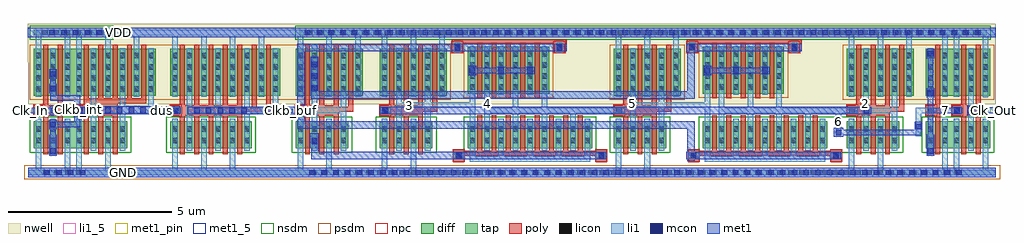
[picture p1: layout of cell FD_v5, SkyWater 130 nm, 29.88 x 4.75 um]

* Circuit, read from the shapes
.subckt FD_v5 2 3 4 5 6 7 Clk_In Clk_In_buf Clk_Out Clkb_buf Clkb_int GND VDD dus
XM1 Clkb_int Clk_In GND GND sky130_fd_pr__nfet_01v8 w=0.84 l=0.15 m=2
XM2 dus Clkb_int GND GND sky130_fd_pr__nfet_01v8 w=0.84 l=0.15 m=3
XM3 Clkb_buf dus GND GND sky130_fd_pr__nfet_01v8 w=0.84 l=0.15 m=5
XM4 Clk_In_buf Clkb_buf GND GND sky130_fd_pr__nfet_01v8 w=0.84 l=0.15 m=3
XM5 3 2 GND GND sky130_fd_pr__nfet_01v8 w=0.84 l=0.15 m=3
XM6 4 Clk_In_buf 3 GND sky130_fd_pr__nfet_01v8 w=0.84 l=0.15 m=8
XM7 5 4 GND GND sky130_fd_pr__nfet_01v8 w=0.84 l=0.15 m=3
XM8 6 Clkb_buf 5 GND sky130_fd_pr__nfet_01v8 w=0.84 l=0.15 m=8
XM9 2 6 GND GND sky130_fd_pr__nfet_01v8 w=0.84 l=0.15 m=3
XM10 GND 6 7 GND sky130_fd_pr__nfet_01v8 w=0.84 l=0.15
XM11 Clk_Out 7 GND GND sky130_fd_pr__nfet_01v8 w=0.84 l=0.15 m=2
XM12 Clkb_int Clk_In VDD VDD sky130_fd_pr__pfet_01v8 w=1.44 l=0.15 m=2
XM13 dus Clkb_int VDD VDD sky130_fd_pr__pfet_01v8 w=1.44 l=0.15 m=5
XM14 Clkb_buf dus VDD VDD sky130_fd_pr__pfet_01v8 w=1.44 l=0.15 m=7
XM15 Clk_In_buf Clkb_buf VDD VDD sky130_fd_pr__pfet_01v8 w=1.44 l=0.15 m=4
XM16 3 2 VDD VDD sky130_fd_pr__pfet_01v8 w=1.44 l=0.15 m=4
XM17 4 Clkb_buf 3 VDD sky130_fd_pr__pfet_01v8 w=1.44 l=0.15 m=5
XM18 5 4 VDD VDD sky130_fd_pr__pfet_01v8 w=1.44 l=0.15 m=4
XM19 6 Clk_In_buf 5 VDD sky130_fd_pr__pfet_01v8 w=1.44 l=0.15 m=5
XM20 2 6 VDD VDD sky130_fd_pr__pfet_01v8 w=1.44 l=0.15 m=4
XM21 VDD 6 7 VDD sky130_fd_pr__pfet_01v8 w=1.44 l=0.15
XM22 Clk_Out 7 VDD VDD sky130_fd_pr__pfet_01v8 w=1.44 l=0.15 m=2
.ends

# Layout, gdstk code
import gdstk
lib = gdstk.Library(unit=1e-6, precision=1e-09)
def R(c, l, rs):  # rectangles x0, y0, x1, y1
    for r in rs: c.add(gdstk.rectangle(r[:2], r[2:], *l))
def A(c, l, x, y, w, h, nx, ny, dx, dy):  # array of equal rectangles
    R(c, l, [(x+i*dx, y+j*dy, x+i*dx+w, y+j*dy+h) for i in range(nx) for j in range(ny)])
nwell = (64, 20)
diff = (65, 20)
tap = (65, 44)
poly = (66, 20)
licon = (66, 44)
li1_5 = (67, 5)
li1 = (67, 20)
mcon = (67, 44)
met1_5 = (68, 5)
met1_pin = (68, 16)
met1 = (68, 20)
nsdm = (93, 44)
psdm = (94, 20)
npc = (95, 20)

sky130_fd_pr__pfet_01v8_ = lib.new_cell('sky130_fd_pr__pfet_01v8_A2DS5R')
R(sky130_fd_pr__pfet_01v8_, nwell, [(-0.545,-0.43,2.305,1.57)])
R(sky130_fd_pr__pfet_01v8_, diff, [(-0.365,-0.18,2.125,1.26)])
A(sky130_fd_pr__pfet_01v8_, poly, -0.075, -0.255, 0.15, 1.645, 5, 1, 0.44, 0)
R(sky130_fd_pr__pfet_01v8_, poly, [(-0.075,-0.405,1.835,-0.255)])
A(sky130_fd_pr__pfet_01v8_, licon, -0.305, -0.055, 0.17, 0.17, 6, 4, 0.44, 0.34)
A(sky130_fd_pr__pfet_01v8_, li1, -0.305, -0.2, 0.17, 1.48, 6, 1, 0.44, 0)
R(sky130_fd_pr__pfet_01v8_, psdm, [(-0.49,-0.305,2.25,1.385)])

sky130_fd_pr__nfet_01v8_ = lib.new_cell('sky130_fd_pr__nfet_01v8_PW8BNL')
R(sky130_fd_pr__nfet_01v8_, diff, [(-0.365,-0.815,0.805,0.025)])
R(sky130_fd_pr__nfet_01v8_, poly, [(-0.075,-0.995,0.075,0.185), (0.365,-0.995,0.515,0.185), (-0.365,0.185,0.515,0.515)])
A(sky130_fd_pr__nfet_01v8_, licon, -0.305, -0.65, 0.17, 0.17, 3, 2, 0.44, 0.34)
R(sky130_fd_pr__nfet_01v8_, licon, [(-0.285,0.265,-0.115,0.435)])
A(sky130_fd_pr__nfet_01v8_, li1, -0.305, -0.885, 0.17, 0.98, 3, 1, 0.44, 0)
R(sky130_fd_pr__nfet_01v8_, li1, [(-0.365,0.265,-0.035,0.435)])
R(sky130_fd_pr__nfet_01v8_, nsdm, [(-0.49,-0.94,0.93,0.15)])
R(sky130_fd_pr__nfet_01v8_, npc, [(-0.385,0.165,-0.015,0.535)])

c_sky130_fd_pr__pfet_01v8_ = lib.new_cell('sky130_fd_pr__pfet_01v8_A1DS5R')
R(c_sky130_fd_pr__pfet_01v8_, nwell, [(-0.545,-0.43,0.985,1.57)])
R(c_sky130_fd_pr__pfet_01v8_, diff, [(-0.365,-0.18,0.805,1.26)])
R(c_sky130_fd_pr__pfet_01v8_, poly, [(-0.075,-0.665,0.515,-0.51), (-0.075,-0.51,0.075,1.39), (0.365,-0.51,0.515,1.39)])
A(c_sky130_fd_pr__pfet_01v8_, licon, -0.305, -0.055, 0.17, 0.17, 3, 4, 0.44, 0.34)
A(c_sky130_fd_pr__pfet_01v8_, li1, -0.305, -0.2, 0.17, 1.48, 3, 1, 0.44, 0)
R(c_sky130_fd_pr__pfet_01v8_, psdm, [(-0.49,-0.305,0.93,1.385)])

c_sky130_fd_pr__nfet_01v8_ = lib.new_cell('sky130_fd_pr__nfet_01v8_PW6BNL')
R(c_sky130_fd_pr__nfet_01v8_, diff, [(-0.365,-0.815,1.245,0.025)])
A(c_sky130_fd_pr__nfet_01v8_, poly, -0.075, -0.995, 0.15, 1.18, 3, 1, 0.44, 0)
R(c_sky130_fd_pr__nfet_01v8_, poly, [(-0.365,0.185,0.955,0.515)])
A(c_sky130_fd_pr__nfet_01v8_, licon, -0.305, -0.65, 0.17, 0.17, 4, 2, 0.44, 0.34)
R(c_sky130_fd_pr__nfet_01v8_, licon, [(-0.285,0.265,-0.115,0.435)])
A(c_sky130_fd_pr__nfet_01v8_, li1, -0.305, -0.885, 0.17, 0.98, 4, 1, 0.44, 0)
R(c_sky130_fd_pr__nfet_01v8_, li1, [(-0.365,0.265,-0.035,0.435)])
R(c_sky130_fd_pr__nfet_01v8_, nsdm, [(-0.49,-0.94,1.37,0.15)])
R(c_sky130_fd_pr__nfet_01v8_, npc, [(-0.385,0.165,-0.015,0.535)])

c_sky130_fd_pr__nfet_01v8__ = lib.new_cell('sky130_fd_pr__nfet_01v8_PW4BNL')
R(c_sky130_fd_pr__nfet_01v8__, diff, [(-0.365,-0.815,2.125,0.025)])
A(c_sky130_fd_pr__nfet_01v8__, poly, -0.075, -0.995, 0.15, 1.18, 5, 1, 0.44, 0)
R(c_sky130_fd_pr__nfet_01v8__, poly, [(-0.365,0.185,1.835,0.515)])
A(c_sky130_fd_pr__nfet_01v8__, licon, -0.305, -0.65, 0.17, 0.17, 6, 2, 0.44, 0.34)
R(c_sky130_fd_pr__nfet_01v8__, licon, [(-0.285,0.265,-0.115,0.435)])
A(c_sky130_fd_pr__nfet_01v8__, li1, -0.305, -0.885, 0.17, 0.98, 6, 1, 0.44, 0)
R(c_sky130_fd_pr__nfet_01v8__, li1, [(-0.365,0.265,-0.035,0.435)])
R(c_sky130_fd_pr__nfet_01v8__, nsdm, [(-0.49,-0.94,2.25,0.15)])
R(c_sky130_fd_pr__nfet_01v8__, npc, [(-0.385,0.165,-0.015,0.535)])

c_sky130_fd_pr__pfet_01v8__ = lib.new_cell('sky130_fd_pr__pfet_01v8_A4DS5R')
R(c_sky130_fd_pr__pfet_01v8__, nwell, [(-0.545,-0.43,3.185,1.57)])
R(c_sky130_fd_pr__pfet_01v8__, diff, [(-0.365,-0.18,3.005,1.26)])
A(c_sky130_fd_pr__pfet_01v8__, poly, -0.075, -0.515, 0.15, 1.905, 7, 1, 0.44, 0)
R(c_sky130_fd_pr__pfet_01v8__, poly, [(-0.075,-0.665,2.715,-0.515)])
A(c_sky130_fd_pr__pfet_01v8__, licon, -0.305, -0.055, 0.17, 0.17, 8, 4, 0.44, 0.34)
A(c_sky130_fd_pr__pfet_01v8__, li1, -0.305, -0.2, 0.17, 1.48, 8, 1, 0.44, 0)
R(c_sky130_fd_pr__pfet_01v8__, psdm, [(-0.49,-0.305,3.13,1.385)])

c_sky130_fd_pr__pfet_01v8___ = lib.new_cell('sky130_fd_pr__pfet_01v8_A8DS5R')
R(c_sky130_fd_pr__pfet_01v8___, nwell, [(-0.545,-0.43,1.865,1.57)])
R(c_sky130_fd_pr__pfet_01v8___, diff, [(-0.365,-0.18,1.685,1.26)])
A(c_sky130_fd_pr__pfet_01v8___, poly, -0.075, -0.515, 0.15, 1.905, 4, 1, 0.44, 0)
R(c_sky130_fd_pr__pfet_01v8___, poly, [(-0.075,-0.665,1.395,-0.515)])
A(c_sky130_fd_pr__pfet_01v8___, licon, -0.305, -0.055, 0.17, 0.17, 5, 4, 0.44, 0.34)
A(c_sky130_fd_pr__pfet_01v8___, li1, -0.305, -0.2, 0.17, 1.48, 5, 1, 0.44, 0)
R(c_sky130_fd_pr__pfet_01v8___, psdm, [(-0.49,-0.305,1.81,1.385)])

c_sky130_fd_pr__nfet_01v8___ = lib.new_cell('sky130_fd_pr__nfet_01v8_PW9BNL')
R(c_sky130_fd_pr__nfet_01v8___, diff, [(-0.365,-0.815,3.445,0.025)])
A(c_sky130_fd_pr__nfet_01v8___, poly, -0.075, -0.995, 0.15, 1.095, 8, 1, 0.44, 0)
R(c_sky130_fd_pr__nfet_01v8___, poly, [(-0.075,0.1,3.155,0.25)])
A(c_sky130_fd_pr__nfet_01v8___, licon, -0.305, -0.65, 0.17, 0.17, 9, 2, 0.44, 0.34)
A(c_sky130_fd_pr__nfet_01v8___, li1, -0.305, -0.885, 0.17, 0.98, 9, 1, 0.44, 0)
R(c_sky130_fd_pr__nfet_01v8___, nsdm, [(-0.49,-0.94,3.57,0.15)])

c_sky130_fd_pr__pfet_01v8____ = lib.new_cell('sky130_fd_pr__pfet_01v8_A9DS5R')
R(c_sky130_fd_pr__pfet_01v8____, nwell, [(-0.545,-0.43,0.545,1.57)])
R(c_sky130_fd_pr__pfet_01v8____, diff, [(-0.365,-0.18,0.365,1.26)])
R(c_sky130_fd_pr__pfet_01v8____, poly, [(-0.075,-0.665,0.075,1.39)])
A(c_sky130_fd_pr__pfet_01v8____, licon, -0.305, -0.055, 0.17, 0.17, 1, 4, 0, 0.34)
A(c_sky130_fd_pr__pfet_01v8____, licon, 0.135, -0.055, 0.17, 0.17, 1, 4, 0, 0.34)
R(c_sky130_fd_pr__pfet_01v8____, li1, [(-0.305,-0.2,-0.135,1.28), (0.135,-0.2,0.305,1.28)])
R(c_sky130_fd_pr__pfet_01v8____, psdm, [(-0.49,-0.305,0.49,1.385)])

c_sky130_fd_pr__nfet_01v8____ = lib.new_cell('sky130_fd_pr__nfet_01v8_PW7BNL')
R(c_sky130_fd_pr__nfet_01v8____, diff, [(-0.365,-0.815,0.365,0.025)])
R(c_sky130_fd_pr__nfet_01v8____, poly, [(-0.075,-0.995,0.075,0.185), (-0.365,0.185,0.075,0.515)])
R(c_sky130_fd_pr__nfet_01v8____, licon, [(-0.305,-0.65,-0.135,-0.48), (0.135,-0.65,0.305,-0.48), (-0.305,-0.31,-0.135,-0.14), (0.135,-0.31,0.305,-0.14), (-0.285,0.265,-0.115,0.435)])
R(c_sky130_fd_pr__nfet_01v8____, li1, [(-0.305,-0.885,-0.135,0.095), (0.135,-0.885,0.305,0.095), (-0.365,0.265,-0.035,0.435)])
R(c_sky130_fd_pr__nfet_01v8____, nsdm, [(-0.49,-0.94,0.49,0.15)])
R(c_sky130_fd_pr__nfet_01v8____, npc, [(-0.385,0.165,-0.015,0.535)])

fd_v5 = lib.new_cell('FD_v5')
R(fd_v5, nwell, [(-1.91,-1.565,27.72,-0.29), (-1.915,-0.29,27.72,0.89)])
R(fd_v5, diff, [(-0.56,-2.925,-0.49,-2.085), (26.3,-2.925,26.37,-2.085), (-0.56,-1.315,-0.49,0.125), (26.3,-1.315,26.37,0.125)])
R(fd_v5, tap, [(-1.91,-3.74,27.72,-3.57), (-1.73,0.535,0.58,0.705), (6.395,0.535,27.44,0.705)])
R(fd_v5, poly, [(11.11,-3.345,11.445,-3.15), (15.475,-3.345,15.81,-3.15), (18.3,-3.345,18.635,-3.15), (22.665,-3.345,23,-3.15), (11.11,-3.15,11.84,-3), (15.07,-3.15,15.81,-3), (18.3,-3.15,19.03,-3), (22.26,-3.15,23,-3), (11.11,-3,11.445,-2.965), (15.475,-3,15.81,-2.965), (18.3,-3,18.635,-2.965), (22.665,-3,23,-2.965), (-0.2,-1.595,0.83,-1.54), (11.065,0.005,11.395,0.26), (14.195,0.005,14.525,0.26), (18.255,0.005,18.585,0.26), (21.385,0.005,21.715,0.26), (11.065,0.26,11.84,0.41), (13.75,0.26,14.585,0.41), (18.255,0.26,19.03,0.41), (20.94,0.26,21.775,0.41)])
A(fd_v5, licon, -1.45, -3.74, 0.17, 0.17, 4, 1, 0.34, 0)
A(fd_v5, licon, 6.745, -3.74, 0.17, 0.17, 59, 1, 0.34, 0)
A(fd_v5, licon, -1.485, 0.535, 0.17, 0.17, 6, 1, 0.34, 0)
A(fd_v5, licon, 6.625, 0.535, 0.17, 0.17, 61, 1, 0.34, 0)
R(fd_v5, licon, [(11.19,-3.225,11.36,-3.055), (15.555,-3.225,15.725,-3.055), (18.38,-3.225,18.55,-3.055), (22.745,-3.225,22.915,-3.055), (11.145,0.085,11.315,0.255), (14.275,0.085,14.445,0.255), (18.335,0.085,18.505,0.255), (21.465,0.085,21.635,0.255)])
R(fd_v5, li1_5, [(22.84,-2.15,22.96,-2.02), (9.69,-1.675,9.815,-1.555), (6.795,-1.64,6.935,-1.48), (16.545,-1.615,16.67,-1.495), (12.08,-1.605,12.205,-1.485), (23.675,-1.605,23.8,-1.485)])
A(fd_v5, li1, 2.505, -3.57, 0.17, 1.14, 3, 1, 0.88, 0)
A(fd_v5, li1, 13.37, -3.165, 0.17, 0.3, 3, 1, 0.88, 0)
A(fd_v5, li1, 20.56, -3.165, 0.17, 0.3, 3, 1, 0.88, 0)
A(fd_v5, li1, 12.05, -1.675, 0.17, 1.005, 3, 1, 0.88, 0)
A(fd_v5, li1, 19.24, -1.675, 0.17, 1.005, 3, 1, 0.88, 0)
A(fd_v5, li1, 11.61, -0.63, 0.17, 0.17, 3, 1, 0.88, 0)
A(fd_v5, li1, 18.8, -0.63, 0.17, 0.17, 3, 1, 0.88, 0)
A(fd_v5, li1, -0.43, 0.065, 0.17, 0.47, 3, 1, 0.88, 0)
A(fd_v5, li1, 2.505, 0.065, 0.17, 0.47, 4, 1, 0.88, 0)
A(fd_v5, li1, 6.34, 0.065, 0.17, 0.47, 3, 1, 0.88, 0)
A(fd_v5, li1, 16.08, 0.065, 0.17, 0.47, 3, 1, 0.88, 0)
A(fd_v5, li1, 23.215, 0.065, 0.17, 0.47, 3, 1, 0.88, 0)
R(fd_v5, li1, [(-1.91,-3.74,27.72,-3.57), (-1.67,-3.57,-1.5,-2.43), (-0.79,-3.57,-0.62,-2.43), (-0.43,-3.57,-0.26,-2.43), (0.45,-3.57,0.62,-2.43), (6.34,-3.57,6.51,-2.515), (7.22,-3.57,7.39,-2.515), (8.92,-3.57,9.09,-2.385), (9.8,-3.57,9.97,-2.385), (16.08,-3.57,16.25,-2.44), (16.96,-3.57,17.13,-2.44), (23.215,-3.57,23.385,-2.505), (24.095,-3.57,24.265,-2.505), (26.07,-3.57,26.24,-2.43), (26.43,-3.57,26.6,-2.43), (27.31,-3.57,27.48,-2.43), (11.61,-3.335,15.3,-3.165), (18.8,-3.335,22.49,-3.165), (11.11,-3.225,11.44,-3.055), (15.475,-3.225,15.805,-3.055), (18.3,-3.225,18.63,-3.055), (22.665,-3.225,22.995,-3.055), (11.61,-3.165,11.78,-2.995), (12.49,-3.165,12.66,-2.995), (18.8,-3.165,18.97,-2.995), (19.68,-3.165,19.85,-2.995), (-1.23,-3.095,-1.06,-2.385), (25.63,-3.095,25.8,-2.385), (6.78,-2.87,6.95,-2.54), (25.27,-2.55,25.44,-1.845), (22.82,-2.52,22.99,-1.845), (-1.23,-2.35,-1.06,-2.11), (25.63,-2.35,25.8,-2.18), (3.825,-2.145,3.995,-1.845), (7.66,-2.145,7.83,-1.84), (10.24,-2.145,10.41,-1.685), (17.4,-2.145,17.57,-1.685), (13.81,-2.085,13.98,-1.845), (21,-2.085,21.17,-1.845), (4.705,-2.075,4.875,-1.845), (12.05,-2.075,12.22,-1.845), (12.93,-2.075,13.1,-1.845), (19.24,-2.075,19.41,-1.845), (20.12,-2.075,20.29,-1.845), (11.61,-2.065,11.78,-1.685), (18.8,-2.065,18.97,-1.685), (0.01,-2.015,0.18,-1.84), (0.89,-2.015,1.06,-1.84), (2.945,-2.015,3.115,-1.845), (6.78,-2.015,6.95,-1.84), (9.36,-2.015,9.53,-1.685), (14.69,-2.015,14.86,-1.845), (16.52,-2.015,16.69,-1.685), (21.88,-2.015,22.05,-1.845), (23.655,-2.015,23.825,-1.845), (24.535,-2.015,24.705,-1.845), (26.87,-2.015,27.04,-1.335), (-1.73,-1.845,-1.04,-1.675), (-0.41,-1.845,-0.24,-1.675), (2.52,-1.845,2.69,-1.675), (2.945,-1.845,5.755,-1.675), (6.36,-1.845,6.53,-1.675), (8.94,-1.845,9.11,-1.675), (12.05,-1.845,16.04,-1.675), (19.24,-1.845,23.155,-1.675), (23.655,-1.845,24.705,-1.675), (25.27,-1.845,25.57,-1.675), (25.645,-1.845,25.815,-1.675), (26.45,-1.845,26.62,-1.675), (0.01,-1.84,1.775,-1.78), (6.78,-1.84,7.83,-1.67), (0.01,-1.78,1.94,-1.61), (9.36,-1.685,11.78,-1.515), (16.52,-1.685,18.97,-1.515), (2.945,-1.675,3.115,-1.335), (3.825,-1.675,3.995,-1.255), (4.705,-1.675,4.875,-1.325), (5.585,-1.675,5.755,-1.335), (23.655,-1.675,23.825,-1.045), (24.535,-1.675,24.705,-1.335), (6.78,-1.67,6.95,-1.335), (7.66,-1.67,7.83,-1.255), (0.01,-1.61,0.18,-1.335), (0.89,-1.61,1.06,-1.33), (1.77,-1.61,1.94,-1.335), (9.36,-1.515,9.53,-1.125), (10.24,-1.515,10.41,-1.125), (11.61,-1.515,11.78,-1.01), (16.52,-1.515,16.69,-1.045), (17.4,-1.515,17.57,-1.045), (18.8,-1.515,18.97,-1.01), (0.45,-1.35,0.62,-1.045), (27.31,-1.35,27.48,-1.045), (-1.23,-1.31,-1.06,-1.005), (25.63,-1.31,25.8,-1.14), (6.78,-1.175,6.95,-0.245), (-1.23,-0.735,-1.06,-0.565), (12.05,-0.67,12.07,-0.63), (19.24,-0.67,19.26,-0.63), (-1.67,-0.575,-1.5,0.535), (-0.79,-0.575,-0.62,0.535), (12.05,-0.46,12.07,-0.415), (19.24,-0.46,19.26,-0.415), (12.05,-0.415,12.22,-0.21), (12.93,-0.415,13.1,-0.21), (19.24,-0.415,19.41,-0.21), (20.12,-0.415,20.29,-0.21), (25.63,-0.105,25.8,0.065), (11.145,0.005,11.315,0.335), (14.275,0.005,14.445,0.335), (18.335,0.005,18.505,0.335), (21.465,0.005,21.635,0.335), (9.8,0.065,9.97,0.535), (10.68,0.065,10.85,0.535), (26.07,0.065,26.24,0.535), (26.43,0.065,26.6,0.535), (27.31,0.065,27.48,0.535), (6.78,0.085,6.95,0.255), (8.92,0.145,9.09,0.535), (-1.67,0.535,27.72,0.705)])
A(fd_v5, mcon, -1.415, -3.74, 0.17, 0.17, 4, 1, 0.36, 0)
A(fd_v5, mcon, 6.705, -3.74, 0.17, 0.17, 56, 1, 0.36, 0)
A(fd_v5, mcon, 3.175, -1.845, 0.17, 0.17, 5, 1, 0.36, 0)
A(fd_v5, mcon, 0.085, -1.84, 0.17, 0.17, 5, 1, 0.36, 0)
A(fd_v5, mcon, 6.78, -1.155, 0.17, 0.17, 1, 3, 0, 0.36)
A(fd_v5, mcon, 11.61, -0.63, 0.17, 0.17, 3, 1, 0.88, 0)
A(fd_v5, mcon, 18.8, -0.63, 0.17, 0.17, 3, 1, 0.88, 0)
A(fd_v5, mcon, -1.26, 0.535, 0.17, 0.17, 5, 1, 0.36, 0)
A(fd_v5, mcon, 6.565, 0.535, 0.17, 0.17, 58, 1, 0.36, 0)
R(fd_v5, mcon, [(11.19,-3.225,11.36,-3.055), (15.555,-3.225,15.725,-3.055), (18.38,-3.225,18.55,-3.055), (22.745,-3.225,22.915,-3.055), (-1.23,-3.095,-1.06,-2.925), (25.63,-3.095,25.8,-2.925), (6.78,-2.79,6.95,-2.62), (22.82,-2.52,22.99,-2.35), (25.27,-2.335,25.44,-2.165), (-1.23,-2.28,-1.06,-2.11), (-1.21,-1.845,-1.04,-1.675), (-0.41,-1.845,-0.24,-1.675), (2.52,-1.845,2.69,-1.675), (6.36,-1.845,6.53,-1.675), (8.94,-1.845,9.11,-1.675), (23.67,-1.845,23.84,-1.675), (26.45,-1.845,26.62,-1.675), (26.87,-1.84,27.04,-1.67), (25.63,-1.31,25.8,-1.14), (-1.23,-1.175,-1.06,-1.005), (-1.23,-0.735,-1.06,-0.565), (25.63,-0.105,25.8,0.065), (11.145,0.085,11.315,0.255), (14.275,0.085,14.445,0.255), (18.335,0.085,18.505,0.255), (21.465,0.085,21.635,0.255)])
R(fd_v5, met1_5, [(2.08,-1.83,2.265,-1.68), (6.045,-1.825,6.19,-1.71), (-0.475,-1.82,-0.28,-1.66), (26.12,-1.815,26.245,-1.695)])
R(fd_v5, met1_pin, [(0.92,-3.8,1.09,-3.51), (-1.91,-1.845,-1.785,-1.675), (27.55,-1.84,27.72,-1.67), (0.78,0.475,0.95,0.765)])
R(fd_v5, met1, [(-1.91,-3.8,27.72,-3.51), (18.265,-3.3,18.495,-3.255), (6.765,-3.255,15.785,-3.025), (18.235,-3.255,22.975,-3.025), (-1.26,-3.155,-1.03,-2.505), (25.6,-3.155,25.83,-2.505), (6.765,-3.025,6.995,-2.9), (18.265,-3.025,18.495,-2.325), (6.72,-2.9,6.995,-2.465), (22.76,-2.56,23.04,-2.52), (22.76,-2.52,25.44,-2.395), (-1.23,-2.505,-1.06,-2.34), (25.63,-2.505,25.8,-1.845), (22.76,-2.395,25.47,-2.35), (22.76,-2.35,23.04,-2.29), (25.24,-2.35,25.47,-2.105), (-1.26,-2.34,-1.03,-2.28), (6.325,-2.325,18.495,-2.095), (-1.26,-2.28,-0.32,-2.11), (-1.26,-2.11,-1.03,-2.05), (-0.49,-2.11,-0.32,-1.875), (6.325,-2.095,6.555,-1.89), (-1.24,-1.905,-1.01,-1.845), (-0.02,-1.9,0.21,-1.875), (26.84,-1.9,27.07,-1.84), (6.29,-1.89,6.595,-1.875), (-0.49,-1.875,-0.18,-1.645), (-0.02,-1.875,2.75,-1.635), (2.98,-1.875,6.595,-1.645), (8.86,-1.875,23.9,-1.645), (26.39,-1.875,26.68,-1.845), (-1.91,-1.845,-1.01,-1.675), (25.63,-1.845,26.68,-1.675), (26.84,-1.84,27.72,-1.67), (-1.24,-1.675,-1.01,-1.615), (25.63,-1.675,25.8,-1.37), (26.39,-1.675,26.68,-1.645), (26.84,-1.67,27.07,-1.61), (-0.49,-1.645,-0.32,-1.46), (6.29,-1.645,6.595,-1.625), (-0.02,-1.635,0.21,-1.61), (6.325,-1.625,6.555,0.055), (-1.23,-1.46,-0.32,-1.29), (6.75,-1.41,18.505,-1.18), (25.6,-1.37,25.83,-1.08), (-1.23,-1.29,-1.03,-1.235), (-1.26,-1.235,-1.03,-0.945), (6.75,-1.18,6.98,-0.115), (18.275,-1.18,18.505,0.055), (25.63,-1.08,25.8,-0.165), (-1.23,-0.945,-1.06,-0.795), (-1.26,-0.795,-1.03,-0.505), (11.58,-0.69,11.81,-0.63), (18.77,-0.69,19,-0.63), (12.43,-0.66,12.72,-0.63), (13.31,-0.66,13.6,-0.63), (19.62,-0.66,19.91,-0.63), (20.5,-0.66,20.79,-0.63), (11.58,-0.63,13.6,-0.46), (18.77,-0.63,20.79,-0.46), (11.58,-0.46,11.81,-0.4), (12.43,-0.46,12.72,-0.43), (13.31,-0.46,13.6,-0.43), (18.77,-0.46,19,-0.4), (19.62,-0.46,19.91,-0.43), (20.5,-0.46,20.79,-0.43), (25.6,-0.165,25.83,0.125), (6.325,0.055,14.585,0.285), (18.235,0.055,21.775,0.285), (-1.915,0.475,27.72,0.765)])
R(fd_v5, nsdm, [(-0.685,-3.05,-0.365,-1.96), (22.675,-3.05,23.03,-1.96), (26.175,-3.05,26.495,-1.96), (-1.855,0.41,0.705,0.83), (6.27,0.41,27.565,0.83)])
R(fd_v5, psdm, [(-2.035,-3.865,27.845,-3.445), (-0.685,-1.44,-0.365,0.25), (2.125,-1.44,2.32,0.25), (5.94,-1.44,6.155,0.25), (8.455,-1.44,8.735,0.25), (25.33,-1.44,25.445,0.25), (26.175,-1.44,26.495,0.25)])
R(fd_v5, npc, [(11.09,-3.325,11.46,-2.955), (15.455,-3.325,15.825,-2.955), (18.28,-3.325,18.65,-2.955), (22.645,-3.325,23.015,-2.955), (11.045,-0.015,11.415,0.355), (14.175,-0.015,14.545,0.355), (18.235,-0.015,18.605,0.355), (21.365,-0.015,21.735,0.355)])
fd_v5.add(gdstk.Reference(sky130_fd_pr__pfet_01v8_, (-0.125,-1.135)))
fd_v5.add(gdstk.Reference(sky130_fd_pr__nfet_01v8_, (-1.365,-2.11)))
fd_v5.add(gdstk.Reference(c_sky130_fd_pr__pfet_01v8_, (-1.365,-1.135)))
fd_v5.add(gdstk.Reference(c_sky130_fd_pr__nfet_01v8_, (-0.125,-2.11)))
fd_v5.add(gdstk.Reference(c_sky130_fd_pr__nfet_01v8__, (2.81,-2.11)))
fd_v5.add(gdstk.Reference(c_sky130_fd_pr__pfet_01v8__, (2.81,-1.135)))
fd_v5.add(gdstk.Reference(c_sky130_fd_pr__pfet_01v8___, (6.645,-1.135)))
fd_v5.add(gdstk.Reference(c_sky130_fd_pr__nfet_01v8_, (6.645,-2.11)))
fd_v5.add(gdstk.Reference(c_sky130_fd_pr__nfet_01v8_, (9.225,-2.11)))
fd_v5.add(gdstk.Reference(c_sky130_fd_pr__pfet_01v8___, (9.225,-1.135)))
fd_v5.add(gdstk.Reference(sky130_fd_pr__pfet_01v8_, (11.915,0.005), x_reflection=True))
fd_v5.add(gdstk.Reference(c_sky130_fd_pr__nfet_01v8___, (11.915,-2.9), x_reflection=True))
fd_v5.add(gdstk.Reference(c_sky130_fd_pr__pfet_01v8___, (16.385,-1.135)))
fd_v5.add(gdstk.Reference(c_sky130_fd_pr__nfet_01v8_, (16.385,-2.11)))
fd_v5.add(gdstk.Reference(c_sky130_fd_pr__nfet_01v8___, (19.105,-2.9), x_reflection=True))
fd_v5.add(gdstk.Reference(sky130_fd_pr__pfet_01v8_, (19.105,0.005), x_reflection=True))
fd_v5.add(gdstk.Reference(c_sky130_fd_pr__nfet_01v8_, (23.52,-2.11)))
fd_v5.add(gdstk.Reference(c_sky130_fd_pr__pfet_01v8___, (23.52,-1.135)))
fd_v5.add(gdstk.Reference(c_sky130_fd_pr__pfet_01v8____, (25.935,-1.135)))
fd_v5.add(gdstk.Reference(c_sky130_fd_pr__nfet_01v8____, (25.935,-2.11)))
fd_v5.add(gdstk.Reference(c_sky130_fd_pr__pfet_01v8_, (26.735,-1.135)))
fd_v5.add(gdstk.Reference(sky130_fd_pr__nfet_01v8_, (26.735,-2.11)))
fd_v5.add(gdstk.Label('Clkb_int', (-0.377,-1.74), layer=68, texttype=5))
fd_v5.add(gdstk.Label('3', (9.752,-1.615), layer=67, texttype=5))
fd_v5.add(gdstk.Label('4', (12.142,-1.545), layer=67, texttype=5))
fd_v5.add(gdstk.Label('5', (16.607,-1.555), layer=67, texttype=5))
fd_v5.add(gdstk.Label('2', (23.737,-1.545), layer=67, texttype=5))
fd_v5.add(gdstk.Label('6', (22.9,-2.085), layer=67, texttype=5))
fd_v5.add(gdstk.Label('7', (26.182,-1.755), layer=68, texttype=5))
fd_v5.add(gdstk.Label('Clkb_buf', (6.117,-1.767), layer=68, texttype=5))
fd_v5.add(gdstk.Label('Clk_In_buf', (6.865,-1.56), layer=67, texttype=5))
fd_v5.add(gdstk.Label('dus', (2.172,-1.755), layer=68, texttype=5))
fd_v5.add(gdstk.Label('Clk_In', (-1.847,-1.76), layer=68, texttype=16))
fd_v5.add(gdstk.Label('VDD', (0.865,0.62), layer=68, texttype=16))
fd_v5.add(gdstk.Label('GND', (1.005,-3.655), layer=68, texttype=16))
fd_v5.add(gdstk.Label('Clk_Out', (27.635,-1.755), layer=68, texttype=16))

lib.write_gds('FD_v5.gds')
